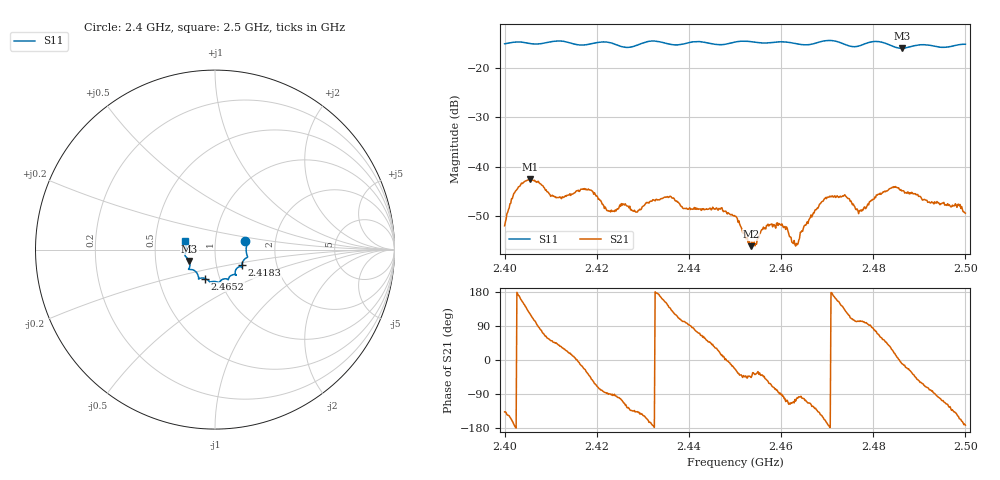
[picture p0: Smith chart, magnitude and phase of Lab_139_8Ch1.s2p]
# Hz S RI R 50
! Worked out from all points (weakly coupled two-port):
!   601 points, 2.4 GHz to 2.5 GHz, reference 50 ohm
!   highest |S21| = -42.53 dB at 2.4055 GHz (marker M1); lowest = -56.0 dB at 2.4535 GHz (marker M2)
!   lowest |S11| = -16.1 dB at 2.4862 GHz (marker M3), VSWR 1.37, Z = 37.2 - j4.88 ohm
!   |S11| at or under -10 dB: start of sweep to end of sweep
!   S12 and S22 are empty: the file has one direction only
!   S11 on the Smith chart (normalised r, x): 2.4 GHz: 1.40, +0.13; 2.4183 GHz: 1.33, -0.24; 2.4652 GHz: 0.85, -0.28; 2.5 GHz: 0.71, +0.07
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2.4e9  0.1678 0.0468  -0.00184 -0.00173  0 0  0 0
2.4025e9  0.1785 0.035  -0.00575 -4.39e-05  0 0  0 0
2.4055e9  0.1747 0.0144  -0.00395 0.00634  0 0  0 0
2.411333e9  0.1818 -0.0398  0.00355 0.00338  0 0  0 0
2.416667e9  0.1549 -0.068  0.00574 -0.00155  0 0  0 0
2.418333e9  0.1496 -0.0862  0.0044 -0.00383  0 0  0 0
2.422833e9  0.1503 -0.0976  4.18e-05 -0.00357  0 0  0 0
2.428833e9  0.1124 -0.1266  -0.00252 -0.00242  0 0  0 0
2.433333e9  0.1171 -0.1415  -0.00462 0.000458  0 0  0 0
2.45e9  0.0256 -0.1796  0.00289 -0.00128  0 0  0 0
2.4535e9  0.0165 -0.1824  0.00109 -0.00114  0 0  0 0
2.456667e9  -0.006 -0.1774  0.00151 -0.0018  0 0  0 0
2.4595e9  -0.025 -0.1804  0.000208 -0.00267  0 0  0 0
2.463167e9  -0.0371 -0.171  -0.000498 -0.0015  0 0  0 0
2.465167e9  -0.0544 -0.1613  -0.000743 -0.00246  0 0  0 0
2.466667e9  -0.0708 -0.1577  -0.00166 -0.00262  0 0  0 0
2.47e9  -0.0911 -0.1644  -0.00481 -0.00109  0 0  0 0
2.473833e9  -0.0942 -0.144  -0.00348 0.00388  0 0  0 0
2.477333e9  -0.1247 -0.1124  -0.000761 0.00358  0 0  0 0
2.483333e9  -0.1413 -0.0967  0.00457 0.00369  0 0  0 0
2.486167e9  -0.1432 -0.064  0.00563 -0.000901  0 0  0 0
2.5e9  -0.1658 0.0474  -0.00336 -0.000472  0 0  0 0
